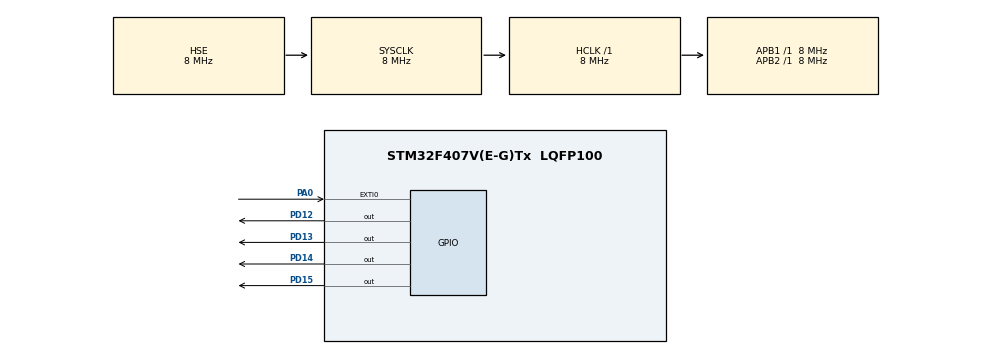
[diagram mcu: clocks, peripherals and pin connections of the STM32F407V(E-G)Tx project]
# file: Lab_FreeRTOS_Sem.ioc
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FREERTOS.HEAP_NUMBER=2
FREERTOS.Tasks01=defaultTask,0,128,StartDefaultTask,Default,NULL,Dynamic,NULL,NULL
FREERTOS.configTICK_RATE_HZ=100
Mcu.Family=STM32F4
Mcu.Name=STM32F407V(E-G)Tx
Mcu.Package=LQFP100
NVIC.EXTI0_IRQn=true\:5\:0\:false\:false\:true\:true\:true\:true\:true
NVIC.PriorityGroup=NVIC_PRIORITYGROUP_4
PA0-WKUP.Signal=GPXTI0
PD12.GPIO_Speed=GPIO_SPEED_FREQ_VERY_HIGH
PD12.Signal=GPIO_Output
PD13.GPIO_Speed=GPIO_SPEED_FREQ_VERY_HIGH
PD13.Signal=GPIO_Output
PD14.GPIO_Speed=GPIO_SPEED_FREQ_VERY_HIGH
PD14.Signal=GPIO_Output
PD15.GPIO_Speed=GPIO_SPEED_FREQ_VERY_HIGH
PD15.Signal=GPIO_Output
PH0-OSC_IN.Mode=HSE-External-Oscillator
PH0-OSC_IN.Signal=RCC_OSC_IN
PH1-OSC_OUT.Mode=HSE-External-Oscillator
PH1-OSC_OUT.Signal=RCC_OSC_OUT
ProjectManager.HeapSize=0x200
ProjectManager.StackSize=0x400
ProjectManager.TargetToolchain=STM32CubeIDE
RCC.48MHZClocksFreq_Value=32000000
RCC.AHBFreq_Value=8000000
RCC.APB1Freq_Value=8000000
RCC.APB1TimFreq_Value=8000000
RCC.APB2Freq_Value=8000000
RCC.APB2TimFreq_Value=8000000
RCC.CortexFreq_Value=8000000
RCC.HCLKFreq_Value=8000000
RCC.HSE_VALUE=8000000
RCC.HSI_VALUE=16000000
RCC.LSE_VALUE=32768
RCC.PLLM=4
RCC.PLLN=64
RCC.PLLSourceVirtual=RCC_PLLSOURCE_HSE
RCC.SYSCLKFreq_VALUE=8000000
RCC.SYSCLKSource=RCC_SYSCLKSOURCE_HSE
RCC.VCOOutputFreq_Value=128000000
VP_FREERTOS_VS_CMSIS_V1.Mode=CMSIS_V1
board=custom

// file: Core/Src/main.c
/* USER CODE BEGIN Header */
/**
  ******************************************************************************
  * @file           : main.c
  * @brief          : Main program body
  ******************************************************************************
  * @attention
  *
  * Copyright (c) 2023 STMicroelectronics.
  * All rights reserved.
  *
  * This software is licensed under terms that can be found in the LICENSE file
  * in the root directory of this software component.
  * If no LICENSE file comes with this software, it is provided AS-IS.
  *
  ******************************************************************************
  */
/* USER CODE END Header */
#include "main.h"
#include "cmsis_os.h"
#include "gpio.h"

/* USER CODE BEGIN PV */
xSemaphoreHandle xBinarySemaphore;
uint8_t buttonPressed = 0;
xTaskHandle xTaskHandle1, vTaskHandle2;
/* USER CODE END PV */

void SystemClock_Config(void);
void MX_FREERTOS_Init(void);

/* USER CODE BEGIN 0 */
int main(void) {
	HAL_Init();
	SystemClock_Config();
	MX_GPIO_Init();

	xBinarySemaphore = xSemaphoreCreateBinary();
	if(xBinarySemaphore != NULL) {
		xTaskCreate(vTaskLow, NULL, configMINIMAL_STACK_SIZE, NULL, 1, NULL);
		xTaskCreate(vTaskHigh, NULL, configMINIMAL_STACK_SIZE, NULL, 2, NULL);
		vTaskStartScheduler();
	}

	while(1);
}
/* USER CODE END 0 */

void SystemClock_Config(void)
{
  RCC_OscInitTypeDef RCC_OscInitStruct = {0};
  RCC_ClkInitTypeDef RCC_ClkInitStruct = {0};

  /** Configure the main internal regulator output voltage
  */
  __HAL_RCC_PWR_CLK_ENABLE();
  __HAL_PWR_VOLTAGESCALING_CONFIG(PWR_REGULATOR_VOLTAGE_SCALE1);

  /** Initializes the RCC Oscillators according to the specified parameters
  * in the RCC_OscInitTypeDef structure.
  */
  RCC_OscInitStruct.OscillatorType = RCC_OSCILLATORTYPE_HSE;
  RCC_OscInitStruct.HSEState = RCC_HSE_ON;
  RCC_OscInitStruct.PLL.PLLState = RCC_PLL_NONE;
  if (HAL_RCC_OscConfig(&RCC_OscInitStruct) != HAL_OK)
  {
    Error_Handler();
  }

  /** Initializes the CPU, AHB and APB buses clocks
  */
  RCC_ClkInitStruct.ClockType = RCC_CLOCKTYPE_HCLK|RCC_CLOCKTYPE_SYSCLK
                              |RCC_CLOCKTYPE_PCLK1|RCC_CLOCKTYPE_PCLK2;
  RCC_ClkInitStruct.SYSCLKSource = RCC_SYSCLKSOURCE_HSE;
  RCC_ClkInitStruct.AHBCLKDivider = RCC_SYSCLK_DIV1;
  RCC_ClkInitStruct.APB1CLKDivider = RCC_HCLK_DIV1;
  RCC_ClkInitStruct.APB2CLKDivider = RCC_HCLK_DIV1;

  if (HAL_RCC_ClockConfig(&RCC_ClkInitStruct, FLASH_LATENCY_0) != HAL_OK)
  {
    Error_Handler();
  }
}

/* USER CODE BEGIN 4 */
void HAL_GPIO_EXTI_Callback(uint16_t GPIO_Pin) {
	if(GPIO_Pin == USER_BUTTON_PIN) {
		HAL_NVIC_DisableIRQ(EXTI0_IRQn);
		buttonPressed = 1;
		HAL_NVIC_EnableIRQ(EXTI0_IRQn);
	}
	else {
		__NOP();
	}
}

void vTaskHigh(void *pvParameters) {
	portTickType t1, t2;
	gpio_led_state(LED5_RED_ID, 0);
	while(1) {
		xSemaphoreTake(xBinarySemaphore, portMAX_DELAY);
		gpio_led_state(LED5_RED_ID, 1);
		t1 = xTaskGetTickCount();
		while(1) {
			t2 = xTaskGetTickCount();
			if(((t2 - t1) * portTICK_RATE_MS) >= 2000) {
				break;
			}
		}
		gpio_led_state(LED5_RED_ID, 0);
	}
}

void vTaskLow(void *pvParameters) {
	uint32_t led_state;
	led_state = 1;
	while(1) {
		gpio_led_state(LED4_GREEN_ID, led_state);
		led_state = (led_state == 1) ? 0 : 1;
		if(buttonPressed) {
			buttonPressed = 0;
			xSemaphoreGive(xBinarySemaphore);
		}

		vTaskDelay(DELAY_MS / portTICK_RATE_MS);
	}
}
/* USER CODE END 4 */

void Error_Handler(void)
{
  __disable_irq();
  while (1)
  {
  }
}
